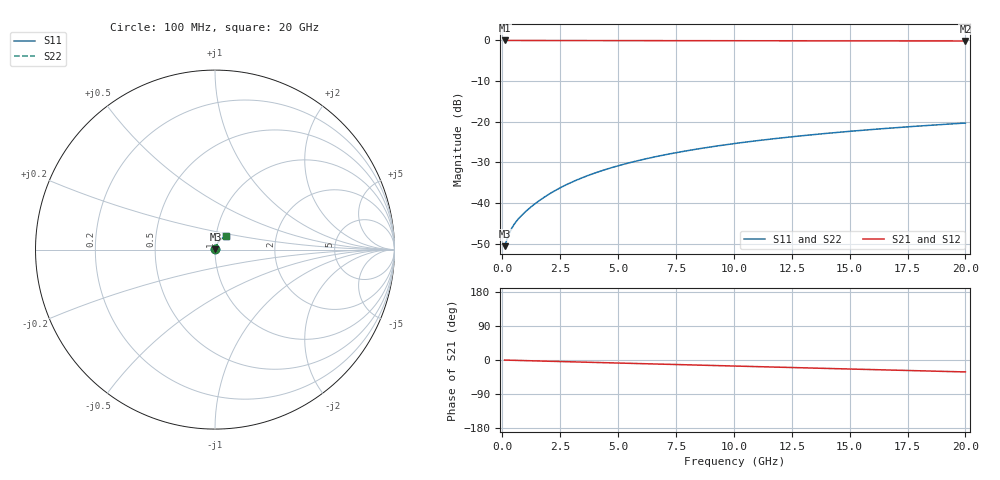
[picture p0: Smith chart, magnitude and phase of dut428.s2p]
! Touchstone file exported from HFSS 2026.1.0
!  File:  C:/ffzhzh/LocalFiles/Ansys_Project_Files/temp_train_TMRDL_428_1783005408_53980.aedt
!  Generated:  11:18:01 PM Jul  2, 2026
!  Design:  TMRDL
!  Project:  temp_train_TMRDL_428_1783005408_53980
! Variables:
!  h_bsmrdl = 2um
!  h_ox = 20um
!  h_rdl = 5um
!  h_sub = 80um
!  h_tmrdl = 2.93um
!  h_tsv = 80um
!  h_via = 3um
!  l_bsmrdl = 300um
!  l_sub = 938.82um
!  l_tmrdl = 538.82um
!  m_sub = 200um
!  pitch = 33.53um
!  r_tsv = 6um
!  s_tmrdl = 10um
!  w_bsmrdl = 18um
!  w_sub = 500um
!  w_tmrdl = 26.65um
!  x_tsv_center1 = 552.145um
!  x_tsv_center2 = 870.145um
!  x_tsv_center3 = 1435.615um
!  x_tsv_center4 = 1753.615um
!  x_tsv_center5 = 2319.085um
!  x_tsv_center6 = 2637.085um
# GHz S MA R 50.000000
! Terminal data exported
! Port[1] = TM_RDL1_1_T1
! Port[2] = TM_RDL1_1_T2
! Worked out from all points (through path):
!   200 points, 100 MHz to 20 GHz, reference 50 ohm
!   highest |S21| = -0.02 dB at 100 MHz (marker M1); lowest = -0.2 dB at 20 GHz (marker M2)
!   group delay of S21, straight-line fit = 4.37 ps
!   lowest |S11| = -50.6 dB at 100 MHz (marker M3), VSWR 1.01, Z = 50.3 + j0.0992 ohm
!   |S11| at or under -10 dB: start of sweep to end of sweep
!   |S22| runs from -50.6 to -20.3 dB; largest |S21 - S12| = 3.5e-15
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0.1  0.002946 19.6  0.9972 -0.2  0.9972 -0.2  0.002946 19.6
! Gamma 0 0 0 0
! Port Impedance 50 0 50 0
0.2  0.003552 31.7  0.997 -0.4  0.997 -0.4  0.003552 31.7
0.3  0.004223 38.1  0.9967 -0.5  0.9967 -0.5  0.004223 38.1
0.4  0.004846 41.9  0.9964 -0.7  0.9964 -0.7  0.004846 41.9
0.5  0.005407 44.5  0.9962 -0.9  0.9962 -0.9  0.005407 44.5
0.7  0.006407 48.8  0.9959 -1.2  0.9959 -1.2  0.006407 48.8
0.9  0.007345 52.4  0.9957 -1.5  0.9957 -1.5  0.007344 52.4
1.1  0.008282 55.5  0.9955 -1.8  0.9955 -1.8  0.008281 55.6
1.6  0.01072 61.4  0.9953 -2.6  0.9953 -2.6  0.01072 61.4
2.2  0.01379 65.6  0.995 -3.6  0.995 -3.6  0.01379 65.6
2.8  0.01696 67.9  0.9947 -4.5  0.9947 -4.5  0.01696 67.9
3.5  0.0207 69.2  0.9944 -5.7  0.9944 -5.7  0.0207 69.2
4.2  0.02445 69.6  0.994 -6.8  0.994 -6.8  0.02444 69.7
5  0.02869 69.6  0.9935 -8.1  0.9935 -8.1  0.02869 69.6
5.9  0.0334 69.0  0.9928 -9.5  0.9928 -9.5  0.0334 69.1
6.8  0.03802 68.2  0.9921 -10.9  0.9921 -10.9  0.03802 68.3
8.3  0.04552 66.6  0.9909 -13.3  0.9909 -13.3  0.04552 66.6
10.1  0.05418 64.3  0.9895 -16.1  0.9895 -16.1  0.05418 64.3
11.7  0.06159 62.1  0.9881 -18.6  0.9881 -18.6  0.06159 62.2
13.4  0.06919 59.8  0.9868 -21.3  0.9868 -21.3  0.06918 59.8
16.7  0.08318 55.2  0.9842 -26.4  0.9842 -26.4  0.08317 55.3
20  0.09622 50.6  0.9818 -31.5  0.9818 -31.5  0.09621 50.7
